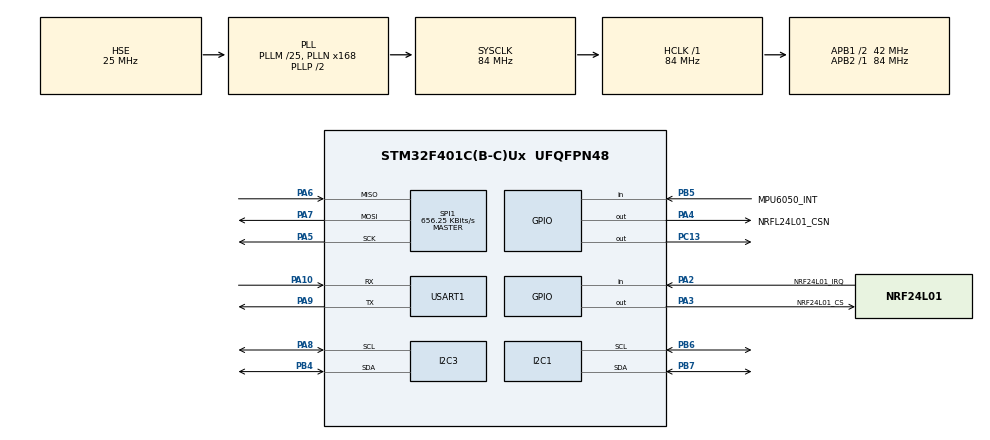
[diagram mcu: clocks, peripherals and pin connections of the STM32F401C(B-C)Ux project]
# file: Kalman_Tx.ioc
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I2C1.I2C_Mode=I2C_Fast
I2C3.I2C_Mode=I2C_Fast
Mcu.Family=STM32F4
Mcu.Name=STM32F401C(B-C)Ux
Mcu.Package=UFQFPN48
NVIC.PriorityGroup=NVIC_PRIORITYGROUP_4
PA10.Mode=Asynchronous
PA10.Signal=USART1_RX
PA2.GPIO_Label=NRF24L01_IRQ
PA2.Signal=GPIO_Input
PA3.GPIO_Label=NRF24L01_CS
PA3.Signal=GPIO_Output
PA4.GPIO_Label=NRFL24L01_CSN
PA4.Signal=GPIO_Output
PA5.Mode=Full_Duplex_Master
PA5.Signal=SPI1_SCK
PA6.Mode=Full_Duplex_Master
PA6.Signal=SPI1_MISO
PA7.Mode=Full_Duplex_Master
PA7.Signal=SPI1_MOSI
PA8.Mode=I2C
PA8.Signal=I2C3_SCL
PA9.Mode=Asynchronous
PA9.Signal=USART1_TX
PB4.Mode=I2C
PB4.Signal=I2C3_SDA
PB5.GPIO_Label=MPU6050_INT
PB5.Signal=GPIO_Input
PB6.Mode=I2C
PB6.Signal=I2C1_SCL
PB7.Mode=I2C
PB7.Signal=I2C1_SDA
PC13-ANTI_TAMP.Signal=GPIO_Output
PH0\ -\ OSC_IN.Mode=HSE-External-Oscillator
PH0\ -\ OSC_IN.Signal=RCC_OSC_IN
PH1\ -\ OSC_OUT.Mode=HSE-External-Oscillator
PH1\ -\ OSC_OUT.Signal=RCC_OSC_OUT
ProjectManager.HeapSize=0x200
ProjectManager.StackSize=0x400
ProjectManager.TargetToolchain=STM32CubeIDE
RCC.48MHZClocksFreq_Value=42000000
RCC.AHBFreq_Value=84000000
RCC.APB1CLKDivider=RCC_HCLK_DIV2
RCC.APB1Freq_Value=42000000
RCC.APB1TimFreq_Value=84000000
RCC.APB2Freq_Value=84000000
RCC.APB2TimFreq_Value=84000000
RCC.CortexFreq_Value=84000000
RCC.HCLKFreq_Value=84000000
RCC.HSE_VALUE=25000000
RCC.HSI_VALUE=16000000
RCC.LSE_VALUE=32768
RCC.PLLM=25
RCC.PLLN=168
RCC.PLLSourceVirtual=RCC_PLLSOURCE_HSE
RCC.SYSCLKFreq_VALUE=84000000
RCC.SYSCLKSource=RCC_SYSCLKSOURCE_PLLCLK
RCC.VCOOutputFreq_Value=168000000
SPI1.BaudRatePrescaler=SPI_BAUDRATEPRESCALER_128
SPI1.CalculateBaudRate=656.25 KBits/s
SPI1.Direction=SPI_DIRECTION_2LINES
SPI1.Mode=SPI_MODE_MASTER
SPI1.VirtualType=VM_MASTER
USART1.VirtualMode=VM_ASYNC
board=custom

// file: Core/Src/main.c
/* USER CODE BEGIN Header */
/**
  ******************************************************************************
  * @file           : main.c
  * @brief          : Main program body
  ******************************************************************************
  * @attention
  *
  * <h2><center>&copy; Copyright (c) 2020 STMicroelectronics.
  * All rights reserved.</center></h2>
  *
  * This software component is licensed by ST under BSD 3-Clause license,
  * the "License"; You may not use this file except in compliance with the
  * License. You may obtain a copy of the License at:
  *                        opensource.org/licenses/BSD-3-Clause
  *
  ******************************************************************************
  */
/* USER CODE END Header */

#include "main.h"
#include "i2c.h"
#include "spi.h"
#include "usart.h"
#include "gpio.h"

/* USER CODE BEGIN Includes */
//#include "mpu6050.h"
#include <stdio.h>
#include <math.h>
#include "ssd1306.h"
#include "MY_NRF24.h"
#include "MPU6050.h"
/* USER CODE END Includes */

/* USER CODE BEGIN PTD */
/*
 *
 *
 *
 *
 *
 *
 *
 *
 *
 *
 *
 *
 *
 *
 *
 *
 * http://samselectronicsprojects.blogspot.com/2014/07/getting-roll-pitch-and-yaw-from-mpu-6050.html
 *
 *
 *
 *
 *
 *
 *
 *
 *
 *
 *
 *
 *
 *
 *
 */
/* USER CODE END PTD */

/* USER CODE BEGIN PV */
//MPU6050_t MPU6050;
/* USER CODE END PV */

void SystemClock_Config(void);

/* USER CODE BEGIN 0 */
/*nrf24l01*/
uint64_t TxpipeAddrs = 122;
char myTxData[32] ;
uint8_t Tx_check = 0;
MPU6050_t MPU6050;

long map(long x, long in_min, long in_max, long out_min, long out_max) {
  return (x - in_min) * (out_max - out_min) / (in_max - in_min) + out_min;
}

/* USER CODE END 0 */

int main(void)
{

  /* MCU Configuration--------------------------------------------------------*/

  /* Reset of all peripherals, Initializes the Flash interface and the Systick. */
  HAL_Init();

  /* Configure the system clock */
  SystemClock_Config();

  /* Initialize all configured peripherals */
  MX_GPIO_Init();
  MX_I2C1_Init();
  MX_I2C3_Init();
  MX_SPI1_Init();
  MX_USART1_UART_Init();
  /* USER CODE BEGIN 2 */
  ssd1306_Init(&hi2c3);	//OLED
  MPU6050_Init(&hi2c1); //MPU

  /***********NRF Ayarlari****************/
    NRF24_begin(GPIOA, NRFL24L01_CSN_Pin, NRF24L01_CS_Pin, hspi1);
  	NRF24_stopListening();
  	NRF24_openWritingPipe(TxpipeAddrs);
  	NRF24_setAutoAck(false);
  	NRF24_setChannel(34);

  /* USER CODE END 2 */

  /* Infinite loop */
  /* USER CODE BEGIN WHILE */
#define PI 3.1415926535897932384626433832795
#define RAD_TO_DEG  57.295779513082320876798154814105

  	int minVal=265;
  	int maxVal=402;
  	char buffx[10];
  	char buffy[10];
  	char buffz[10];

  	double x;
  	double y;
  	double z;
  	uint8_t ort = 0;

  	while(1)
  	{
  		MPU6050_Read_Accel(&hi2c1, &MPU6050);
  		ort++;
		int xAng = map(MPU6050.Accel_X_RAW,minVal,maxVal,-90,90);
		int yAng = map(MPU6050.Accel_Y_RAW,minVal,maxVal,-90,90);
		int zAng = map(MPU6050.Accel_Z_RAW,minVal,maxVal,-90,90);
		int s = sqrt(yAng*yAng+zAng*zAng);
		int a = sqrt(xAng*xAng+zAng*zAng);
		x= RAD_TO_DEG * (atan2(yAng, a));
		y= RAD_TO_DEG * (atan2(xAng,s ));
		z= RAD_TO_DEG * (atan2(-yAng, -xAng)+PI);
		if(ort == 100)
		{
			sprintf(buffx,"%0.0f",x);

			sprintf(buffy,"%0.0f",y);
			sprintf(buffz,"%0.0f",z);
			myTxData[1]=0XFF;
			myTxData[2]=buffx[0];
			myTxData[3]=buffx[1];
			myTxData[4]=buffx[2];
			myTxData[5]=buffx[3];
			myTxData[6]=buffy[0];
			myTxData[7]=buffy[1];
			myTxData[8]=buffy[2];
			myTxData[9]=buffy[3];
			myTxData[10]=0XFF;
            for(uint8_t i = 1 ; i<11 ; i++)
			{
            	Tx_check = Tx_check + myTxData[i];
			}
			myTxData[0] = Tx_check;
			Tx_check = 0;
			HAL_Delay(100);
			NRF24_write(myTxData, 32);
			HAL_GPIO_TogglePin(GPIOC, GPIO_PIN_13);
			ort = 0;
		}
	/* USER CODE END WHILE */

  }
}

void SystemClock_Config(void)
{
  RCC_OscInitTypeDef RCC_OscInitStruct = {0};
  RCC_ClkInitTypeDef RCC_ClkInitStruct = {0};

  /** Configure the main internal regulator output voltage
  */
  __HAL_RCC_PWR_CLK_ENABLE();
  __HAL_PWR_VOLTAGESCALING_CONFIG(PWR_REGULATOR_VOLTAGE_SCALE2);
  /** Initializes the CPU, AHB and APB busses clocks
  */
  RCC_OscInitStruct.OscillatorType = RCC_OSCILLATORTYPE_HSE;
  RCC_OscInitStruct.HSEState = RCC_HSE_ON;
  RCC_OscInitStruct.PLL.PLLState = RCC_PLL_ON;
  RCC_OscInitStruct.PLL.PLLSource = RCC_PLLSOURCE_HSE;
  RCC_OscInitStruct.PLL.PLLM = 25;
  RCC_OscInitStruct.PLL.PLLN = 168;
  RCC_OscInitStruct.PLL.PLLP = RCC_PLLP_DIV2;
  RCC_OscInitStruct.PLL.PLLQ = 4;
  if (HAL_RCC_OscConfig(&RCC_OscInitStruct) != HAL_OK)
  {
    Error_Handler();
  }
  /** Initializes the CPU, AHB and APB busses clocks
  */
  RCC_ClkInitStruct.ClockType = RCC_CLOCKTYPE_HCLK|RCC_CLOCKTYPE_SYSCLK
                              |RCC_CLOCKTYPE_PCLK1|RCC_CLOCKTYPE_PCLK2;
  RCC_ClkInitStruct.SYSCLKSource = RCC_SYSCLKSOURCE_PLLCLK;
  RCC_ClkInitStruct.AHBCLKDivider = RCC_SYSCLK_DIV1;
  RCC_ClkInitStruct.APB1CLKDivider = RCC_HCLK_DIV2;
  RCC_ClkInitStruct.APB2CLKDivider = RCC_HCLK_DIV1;

  if (HAL_RCC_ClockConfig(&RCC_ClkInitStruct, FLASH_LATENCY_2) != HAL_OK)
  {
    Error_Handler();
  }
}

void Error_Handler(void)
{
}

/************************ (C) COPYRIGHT STMicroelectronics *****END OF FILE****/
